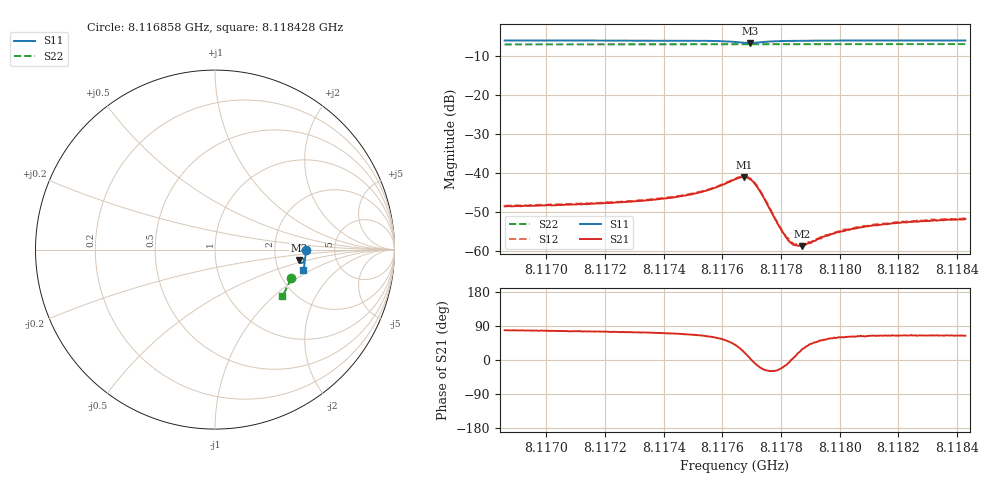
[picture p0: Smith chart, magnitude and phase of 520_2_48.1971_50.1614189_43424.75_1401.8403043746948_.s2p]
#  HZ  S  RI  R  50.00
! Rohde & Schwarz Vector Network Analyzer
! Rohde-Schwarz,ZNB20-2Port,1311601062101988,3.16
! Created: UTC 3/20/2024, 11:59:20 AM
! freq[Hz]  re:S11  im:S11  re:S21  im:S21  re:S12  im:S12  re:S22  im:S22
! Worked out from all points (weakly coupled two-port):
!   401 points, 8.116858 GHz to 8.118428 GHz, reference 50 ohm
!   highest |S21| = -41.00 dB at 8.117674 GHz (marker M1); lowest = -58.8 dB at 8.117871 GHz (marker M2)
!   lowest |S11| = -6.6 dB at 8.117694 GHz (marker M3), VSWR 2.77, Z = 135 - j20.2 ohm
!   |S11| at or under -10 dB: nowhere
!   |S22| runs from -6.9 to -6.8 dB; largest |S21 - S12| = 0.00026
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8.1168581e9  0.5068 -0.00481  0.000737 0.00366  0.000793 0.00372  0.422 -0.1589
8.117121e9  0.5056 -0.0254  0.000978 0.00385  0.00104 0.00395  0.4157 -0.1763
8.117384e9  0.5029 -0.0477  0.00149 0.00441  0.00154 0.00446  0.4091 -0.1936
8.117486e9  0.5002 -0.0577  0.00204 0.00486  0.00208 0.00495  0.4059 -0.2001
8.117541e9  0.4973 -0.0641  0.00266 0.00524  0.00267 0.00535  0.4043 -0.2037
8.117643e9  0.4795 -0.0748  0.00636 0.00539  0.0065 0.00542  0.4004 -0.2101
8.1176744e9  0.4686 -0.0681  0.00835 0.00312  0.0085 0.00311  0.3992 -0.2115
8.117694e9  0.4665 -0.0582  0.00836 0.000649  0.00858 0.000634  0.3986 -0.2123
8.1177097e9  0.4701 -0.0511  0.00728 -0.00101  0.00747 -0.00109  0.3985 -0.2129
8.1177254e9  0.4764 -0.047  0.00574 -0.0019  0.00588 -0.00197  0.3982 -0.2136
8.1177961e9  0.4947 -0.0546  0.00183 -0.000802  0.00183 -0.000842  0.3969 -0.2184
8.1178235e9  0.4969 -0.0589  0.00136 -0.000205  0.00145 -0.000227  0.3961 -0.2202
8.1178353e9  0.4975 -0.0607  0.00127 2.15e-05  0.00129 2.6e-06  0.3959 -0.2211
8.117851e9  0.4981 -0.0629  0.00115 0.000242  0.0012 0.000279  0.3954 -0.222
8.1178706e9  0.4985 -0.0654  0.00102 0.000534  0.00112 0.000555  0.3948 -0.2234
8.1179059e9  0.4989 -0.0696  0.000961 0.000911  0.000925 0.00093  0.3936 -0.2257
8.1179491e9  0.4988 -0.0743  0.000916 0.00124  0.000927 0.00128  0.3922 -0.2284
8.1180119e9  0.4984 -0.0805  0.000913 0.00155  0.000914 0.00165  0.3903 -0.2323
8.1180904e9  0.4976 -0.0873  0.000941 0.00183  0.000937 0.00188  0.3875 -0.2374
8.1181689e9  0.4965 -0.094  0.000966 0.002  0.000998 0.00206  0.3848 -0.2419
8.1183062e9  0.4943 -0.1049  0.00104 0.00219  0.00109 0.00227  0.3799 -0.2504
8.1184279e9  0.4922 -0.1142  0.00113 0.00232  0.00116 0.00234  0.3755 -0.2577
